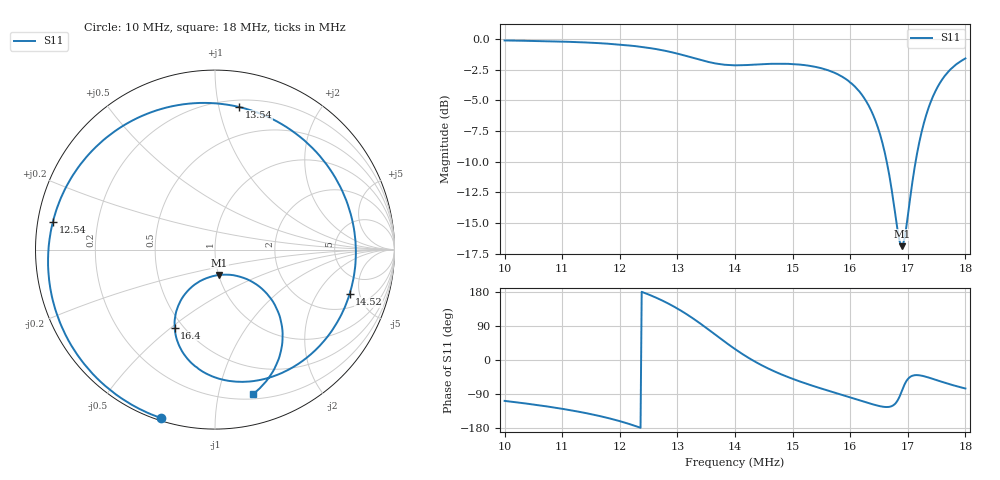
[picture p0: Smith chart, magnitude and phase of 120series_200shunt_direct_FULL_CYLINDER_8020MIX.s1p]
! NanoVNA Web complex sweep
! Processing: original sample grid, no browser smoothing
# Hz S RI R 50
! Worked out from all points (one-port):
!   401 points, 10 MHz to 18 MHz, reference 50 ohm
!   lowest |S11| = -16.9 dB at 16.9 MHz (marker M1), VSWR 1.33, Z = 50.3 - j14.5 ohm
!   |S11| at or under -10 dB: 16.63 MHz to 17.14 MHz (501.6 kHz wide, 2.97 % of centre)
!   S11 on the Smith chart (normalised r, x): 10 MHz: 0.01, -0.73; 12.54 MHz: 0.04, +0.08; 13.54 MHz: 0.25, +1.15; 14.52 MHz: 3.05, -4.00; 16.4 MHz: 0.45, -0.51; 18 MHz: 0.24, -1.27
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1e7  -0.3031 -0.938
1.1e7  -0.6112 -0.7597
1.154e7  -0.7817 -0.5641
1.2e7  -0.8986 -0.3027
1.23e7  -0.9302 -0.0695
1.254e7  -0.9034 0.1535
1.278e7  -0.8029 0.3964
1.3e7  -0.6236 0.6087
1.328e7  -0.2689 0.7919
1.354e7  0.1356 0.7941
1.374e7  0.4241 0.6654
1.4e7  0.6837 0.3767
1.424e7  0.7802 0.0711
1.452e7  0.75 -0.247
1.476e7  0.6486 -0.4558
1.5e7  0.5109 -0.6028
1.524e7  0.3588 -0.6931
1.55e7  0.1914 -0.7351
1.6e7  -0.1008 -0.6563
1.64e7  -0.2247 -0.4345
1.664e7  -0.1747 -0.2576
1.684e7  -0.0324 -0.154
1.69e7  0.0234 -0.1413
1.7e7  0.1207 -0.1464
1.72e7  0.2895 -0.246
1.744e7  0.3756 -0.4488
1.774e7  0.3233 -0.6782
1.8e7  0.2128 -0.805
